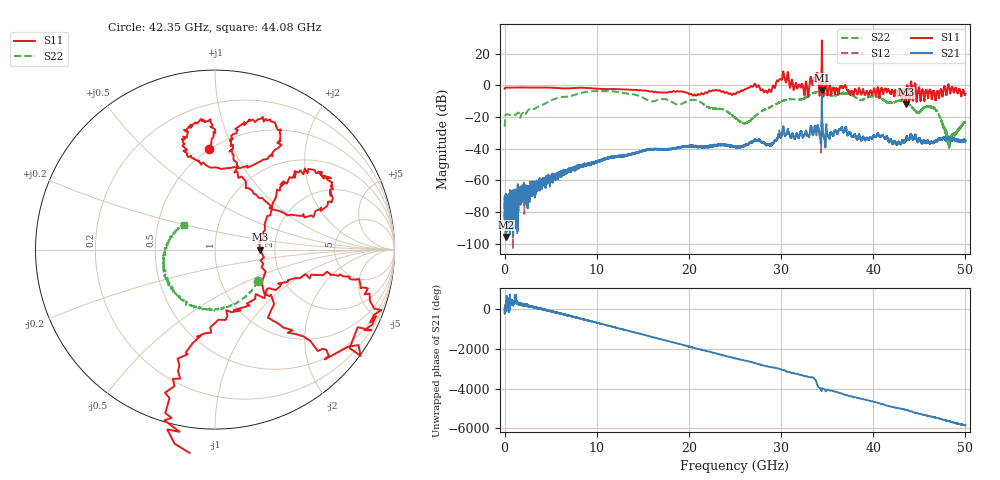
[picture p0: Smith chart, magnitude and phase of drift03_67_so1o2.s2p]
!Created with skrf (http://scikit-rf.org).
# Hz S RI R 50.0
!freq ReS11 ImS11 ReS21 ImS21 ReS12 ImS12 ReS22 ImS22
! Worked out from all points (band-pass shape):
!   10000 points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, 5.3 MHz to 50 GHz, reference 50 ohm
!   highest |S21| = -2.99 dB at 34.43 GHz (marker M1); lowest = -95.9 dB at 150.3 MHz (marker M2)
!   |S21| within 3 dB of the highest: 34.4274 GHz to 34.43414 GHz (6.747 MHz wide, 0.0196 % of centre)
!   lowest |S11| = -12.1 dB at 43.52 GHz (marker M3), VSWR 1.66, Z = 83.2 - j0.0375 ohm
!   |S11| at or under -10 dB: 43.48422 GHz to 43.54948 GHz (65.26 MHz wide, 0.15 % of centre); 44.70618 GHz to 44.71303 GHz (6.852 MHz wide, 0.0153 % of centre); 44.72954 GHz to 44.7305 GHz (955.9 kHz wide, 0.00214 % of centre)
!   |S22| runs from -39.6 to -3.6 dB; largest |S21 - S12| = 0.22
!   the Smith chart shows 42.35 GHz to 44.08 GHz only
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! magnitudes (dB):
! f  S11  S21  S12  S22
! 5.3 MHz  -2.1  -71.9  -78.9  -26.1
! 150.3 MHz  -1.4  -95.9  -76.3  -18.4
! 3.005 GHz  -1.4  -60.7  -63.5  -14.5
! 8.34 GHz  -1.5  -50.5  -51.4  -4.7
! 16.67 GHz  -4.4  -40.2  -40.4  -9.2
! 20.75 GHz  -6.3  -38.1  -38.9  -9.3
! 25.01 GHz  -5.5  -38.8  -38.9  -20.3
! 26.2 GHz  -2.3  -37.9  -37.3  -23.7
! 27.37 GHz  -1.1  -35.1  -35.0  -18.6
! 28.72 GHz  -2.5  -37.6  -37.6  -14.1
! 30.14 GHz  4.4  -29.3  -29.7  -9.9
! 32.74 GHz  2.0  -29.4  -29.2  -7.3
! 33.34 GHz  2.7  -27.6  -27.8  -5.2
! 33.82 GHz  4.0  -29.1  -29.5  -4.3
! 34.43 GHz  28.4  -3.0  -5.1  -4.0
! 36.48 GHz  -0.5  -27.9  -28.0  -5.2
! 41.67 GHz  -2.9  -35.7  -35.4  -10.9
! 43.52 GHz  -12.1  -34.5  -34.6  -10.4
! 44.78 GHz  -7.2  -35.2  -34.8  -17.3
! 46.67 GHz  -5.3  -35.6  -35.7  -14.8
! 48.21 GHz  -0.1  -33.3  -32.7  -35.6
! 50 GHz  -5.2  -34.8  -34.4  -23.3
